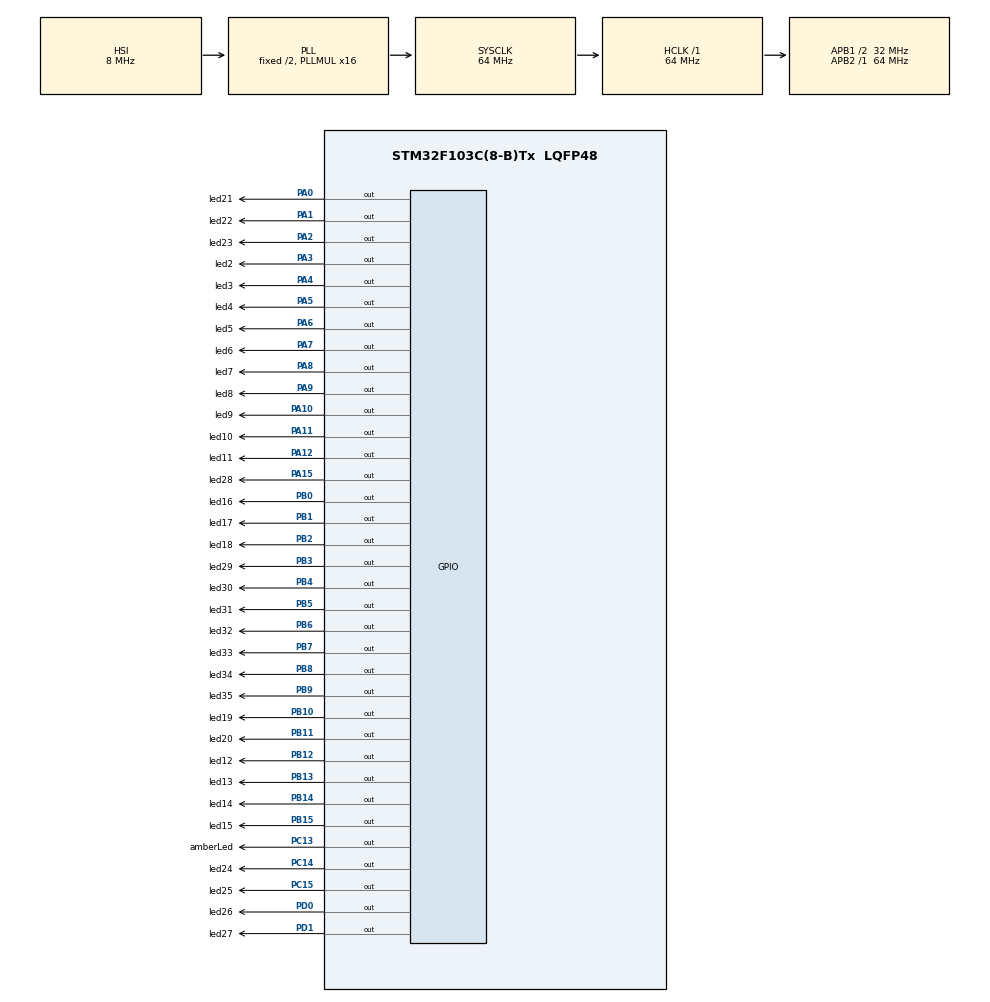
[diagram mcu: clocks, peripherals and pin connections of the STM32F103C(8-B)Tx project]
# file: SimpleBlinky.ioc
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Mcu.Family=STM32F1
Mcu.Name=STM32F103C(8-B)Tx
Mcu.Package=LQFP48
NVIC.PriorityGroup=NVIC_PRIORITYGROUP_4
PA0-WKUP.GPIO_Label=led21
PA0-WKUP.Signal=GPIO_Output
PA1.GPIO_Label=led22
PA1.Signal=GPIO_Output
PA10.GPIO_Label=led9
PA10.Signal=GPIO_Output
PA11.GPIO_Label=led10
PA11.Signal=GPIO_Output
PA12.GPIO_Label=led11
PA12.Signal=GPIO_Output
PA13.Mode=Serial_Wire
PA13.Signal=SYS_JTMS-SWDIO
PA14.Mode=Serial_Wire
PA14.Signal=SYS_JTCK-SWCLK
PA15.GPIO_Label=led28
PA15.Signal=GPIO_Output
PA2.GPIO_Label=led23
PA2.Signal=GPIO_Output
PA3.GPIO_Label=led2
PA3.GPIO_ModeDefaultOutputPP=GPIO_MODE_OUTPUT_OD
PA3.PinState=GPIO_PIN_SET
PA3.Signal=GPIO_Output
PA4.GPIO_Label=led3
PA4.GPIO_ModeDefaultOutputPP=GPIO_MODE_OUTPUT_OD
PA4.PinState=GPIO_PIN_SET
PA4.Signal=GPIO_Output
PA5.GPIO_Label=led4
PA5.PinState=GPIO_PIN_SET
PA5.Signal=GPIO_Output
PA6.GPIO_Label=led5
PA6.PinState=GPIO_PIN_SET
PA6.Signal=GPIO_Output
PA7.GPIO_Label=led6
PA7.PinState=GPIO_PIN_SET
PA7.Signal=GPIO_Output
PA8.GPIO_Label=led7
PA8.Signal=GPIO_Output
PA9.GPIO_Label=led8
PA9.Signal=GPIO_Output
PB0.GPIO_Label=led16
PB0.Signal=GPIO_Output
PB1.GPIO_Label=led17
PB1.Signal=GPIO_Output
PB10.GPIO_Label=led19
PB10.Signal=GPIO_Output
PB11.GPIO_Label=led20
PB11.Signal=GPIO_Output
PB12.GPIO_Label=led12
PB12.Signal=GPIO_Output
PB13.GPIO_Label=led13
PB13.Signal=GPIO_Output
PB14.GPIO_Label=led14
PB14.Signal=GPIO_Output
PB15.GPIO_Label=led15
PB15.Signal=GPIO_Output
PB2.GPIO_Label=led18
PB2.Signal=GPIO_Output
PB3.GPIO_Label=led29
PB3.Signal=GPIO_Output
PB4.GPIO_Label=led30
PB4.Signal=GPIO_Output
PB5.GPIO_Label=led31
PB5.Signal=GPIO_Output
PB6.GPIO_Label=led32
PB6.Signal=GPIO_Output
PB7.GPIO_Label=led33
PB7.Signal=GPIO_Output
PB8.GPIO_Label=led34
PB8.Signal=GPIO_Output
PB9.GPIO_Label=led35
PB9.Signal=GPIO_Output
PC13-TAMPER-RTC.GPIO_Label=amberLed
PC13-TAMPER-RTC.GPIO_ModeDefaultOutputPP=GPIO_MODE_OUTPUT_OD
PC13-TAMPER-RTC.GPIO_Speed=GPIO_SPEED_FREQ_LOW
PC13-TAMPER-RTC.PinState=GPIO_PIN_SET
PC13-TAMPER-RTC.Signal=GPIO_Output
PC14-OSC32_IN.GPIO_Label=led24
PC14-OSC32_IN.Signal=GPIO_Output
PC15-OSC32_OUT.GPIO_Label=led25
PC15-OSC32_OUT.Signal=GPIO_Output
PD0-OSC_IN.GPIO_Label=led26
PD0-OSC_IN.Signal=GPIO_Output
PD1-OSC_OUT.GPIO_Label=led27
PD1-OSC_OUT.Signal=GPIO_Output
ProjectManager.HeapSize=0x200
ProjectManager.StackSize=0x400
ProjectManager.TargetToolchain=SW4STM32
RCC.AHBFreq_Value=64000000
RCC.APB1CLKDivider=RCC_HCLK_DIV2
RCC.APB1Freq_Value=32000000
RCC.APB1TimFreq_Value=64000000
RCC.APB2Freq_Value=64000000
RCC.APB2TimFreq_Value=64000000
RCC.HCLKFreq_Value=64000000
RCC.PLLMUL=RCC_PLL_MUL16
RCC.SYSCLKFreq_VALUE=64000000
RCC.SYSCLKSource=RCC_SYSCLKSOURCE_PLLCLK
RCC.USBFreq_Value=64000000
board=SimpleBlinky

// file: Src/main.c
/**
  ******************************************************************************
  * File Name          : main.c
  * Description        : Main program body
  ******************************************************************************
  ** This notice applies to any and all portions of this file
  * that are not between comment pairs USER CODE BEGIN and
  * USER CODE END. Other portions of this file, whether
  * inserted by the user or by software development tools
  * are owned by their respective copyright owners.
  *
  * COPYRIGHT(c) 2017 STMicroelectronics
  *
  * Redistribution and use in source and binary forms, with or without modification,
  * are permitted provided that the following conditions are met:
  *   1. Redistributions of source code must retain the above copyright notice,
  *      this list of conditions and the following disclaimer.
  *   2. Redistributions in binary form must reproduce the above copyright notice,
  *      this list of conditions and the following disclaimer in the documentation
  *      and/or other materials provided with the distribution.
  *   3. Neither the name of STMicroelectronics nor the names of its contributors
  *      may be used to endorse or promote products derived from this software
  *      without specific prior written permission.
  *
  * THIS SOFTWARE IS PROVIDED BY THE COPYRIGHT HOLDERS AND CONTRIBUTORS "AS IS"
  * AND ANY EXPRESS OR IMPLIED WARRANTIES, INCLUDING, BUT NOT LIMITED TO, THE
  * IMPLIED WARRANTIES OF MERCHANTABILITY AND FITNESS FOR A PARTICULAR PURPOSE ARE
  * DISCLAIMED. IN NO EVENT SHALL THE COPYRIGHT HOLDER OR CONTRIBUTORS BE LIABLE
  * FOR ANY DIRECT, INDIRECT, INCIDENTAL, SPECIAL, EXEMPLARY, OR CONSEQUENTIAL
  * DAMAGES (INCLUDING, BUT NOT LIMITED TO, PROCUREMENT OF SUBSTITUTE GOODS OR
  * SERVICES; LOSS OF USE, DATA, OR PROFITS; OR BUSINESS INTERRUPTION) HOWEVER
  * CAUSED AND ON ANY THEORY OF LIABILITY, WHETHER IN CONTRACT, STRICT LIABILITY,
  * OR TORT (INCLUDING NEGLIGENCE OR OTHERWISE) ARISING IN ANY WAY OUT OF THE USE
  * OF THIS SOFTWARE, EVEN IF ADVISED OF THE POSSIBILITY OF SUCH DAMAGE.
  *
  ******************************************************************************
  */
#include "main.h"
#include "stm32f1xx_hal.h"

/* USER CODE BEGIN PV */
/* Private variables ---------------------------------------------------------*/
typedef struct Led Led;
struct Led {
	int state;
	int tickstart;
	GPIO_TypeDef* port;
	uint16_t pin;
	int onPeriod;
	int offPeriod;
};

/* USER CODE END PV */

void SystemClock_Config(void);
static void MX_GPIO_Init(void);

/* USER CODE BEGIN PFP */
/* Private function prototypes -----------------------------------------------*/
void doBlinking(void);
void blinkLed(Led *led);
void initLed(Led *led, GPIO_TypeDef* port, uint16_t pin,			\
			 int onPeriod, int offPeriod);
void ledWaitAndSwitch(Led *led, int period, int pinState, int nextState);
/* USER CODE END PFP */

int main(void)
{

  /* USER CODE BEGIN 1 */
//  Led led1;
//  Led led2;
  /* USER CODE END 1 */

  /* MCU Configuration----------------------------------------------------------*/

  /* Reset of all peripherals, Initializes the Flash interface and the Systick. */
  HAL_Init();

  /* Configure the system clock */
  SystemClock_Config();

  /* Initialize all configured peripherals */
  MX_GPIO_Init();

  /* USER CODE BEGIN 2 */
//  initLed(&led1, amberLed_GPIO_Port, amberLed_Pin, 500, 500);
//  initLed(&led2, led7_GPIO_Port, led7_Pin, 150, 150);
  /* USER CODE END 2 */

  /* Infinite loop */
  /* USER CODE BEGIN WHILE */
  while (1)
  {
//	  blinkLed(&led1);
//	  blinkLed(&led2);
	  doBlinking();
  /* USER CODE END WHILE */

  }

}

/** System Clock Configuration
*/
void SystemClock_Config(void)
{

  RCC_OscInitTypeDef RCC_OscInitStruct;
  RCC_ClkInitTypeDef RCC_ClkInitStruct;

    /**Initializes the CPU, AHB and APB busses clocks
    */
  RCC_OscInitStruct.OscillatorType = RCC_OSCILLATORTYPE_HSI;
  RCC_OscInitStruct.HSIState = RCC_HSI_ON;
  RCC_OscInitStruct.HSICalibrationValue = 16;
  RCC_OscInitStruct.PLL.PLLState = RCC_PLL_ON;
  RCC_OscInitStruct.PLL.PLLSource = RCC_PLLSOURCE_HSI_DIV2;
  RCC_OscInitStruct.PLL.PLLMUL = RCC_PLL_MUL16;
  if (HAL_RCC_OscConfig(&RCC_OscInitStruct) != HAL_OK)
  {
    _Error_Handler(__FILE__, __LINE__);
  }

    /**Initializes the CPU, AHB and APB busses clocks
    */
  RCC_ClkInitStruct.ClockType = RCC_CLOCKTYPE_HCLK|RCC_CLOCKTYPE_SYSCLK
                              |RCC_CLOCKTYPE_PCLK1|RCC_CLOCKTYPE_PCLK2;
  RCC_ClkInitStruct.SYSCLKSource = RCC_SYSCLKSOURCE_PLLCLK;
  RCC_ClkInitStruct.AHBCLKDivider = RCC_SYSCLK_DIV1;
  RCC_ClkInitStruct.APB1CLKDivider = RCC_HCLK_DIV2;
  RCC_ClkInitStruct.APB2CLKDivider = RCC_HCLK_DIV1;

  if (HAL_RCC_ClockConfig(&RCC_ClkInitStruct, FLASH_LATENCY_2) != HAL_OK)
  {
    _Error_Handler(__FILE__, __LINE__);
  }

    /**Configure the Systick interrupt time
    */
  HAL_SYSTICK_Config(HAL_RCC_GetHCLKFreq()/1000);

    /**Configure the Systick
    */
  HAL_SYSTICK_CLKSourceConfig(SYSTICK_CLKSOURCE_HCLK);

  /* SysTick_IRQn interrupt configuration */
  HAL_NVIC_SetPriority(SysTick_IRQn, 0, 0);
}

/** Configure pins as
        * Analog
        * Input
        * Output
        * EVENT_OUT
        * EXTI
*/
static void MX_GPIO_Init(void)
{

  GPIO_InitTypeDef GPIO_InitStruct;

  /* GPIO Ports Clock Enable */
  __HAL_RCC_GPIOC_CLK_ENABLE();
  __HAL_RCC_GPIOD_CLK_ENABLE();
  __HAL_RCC_GPIOA_CLK_ENABLE();
  __HAL_RCC_GPIOB_CLK_ENABLE();

  /*Configure GPIO pin Output Level */
  HAL_GPIO_WritePin(amberLed_GPIO_Port, amberLed_Pin, GPIO_PIN_SET);

  /*Configure GPIO pin Output Level */
  HAL_GPIO_WritePin(GPIOC, led24_Pin|led25_Pin, GPIO_PIN_RESET);

  /*Configure GPIO pin Output Level */
  HAL_GPIO_WritePin(GPIOD, led26_Pin|led27_Pin, GPIO_PIN_RESET);

  /*Configure GPIO pin Output Level */
  HAL_GPIO_WritePin(GPIOA, led21_Pin|led22_Pin|led23_Pin|led7_Pin
                          |led8_Pin|led9_Pin|led10_Pin|led11_Pin
                          |led28_Pin, GPIO_PIN_RESET);

  /*Configure GPIO pin Output Level */
  HAL_GPIO_WritePin(GPIOA, led2_Pin|led3_Pin|led4_Pin|led5_Pin
                          |led6_Pin, GPIO_PIN_SET);

  /*Configure GPIO pin Output Level */
  HAL_GPIO_WritePin(GPIOB, led16_Pin|led17_Pin|led18_Pin|led19_Pin
                          |led20_Pin|led12_Pin|led13_Pin|led14_Pin
                          |led15_Pin|led29_Pin|led30_Pin|led31_Pin
                          |led32_Pin|led33_Pin|led34_Pin|led35_Pin, GPIO_PIN_RESET);

  /*Configure GPIO pin : amberLed_Pin */
  GPIO_InitStruct.Pin = amberLed_Pin;
  GPIO_InitStruct.Mode = GPIO_MODE_OUTPUT_OD;
  GPIO_InitStruct.Speed = GPIO_SPEED_FREQ_LOW;
  HAL_GPIO_Init(amberLed_GPIO_Port, &GPIO_InitStruct);

  /*Configure GPIO pins : led24_Pin led25_Pin */
  GPIO_InitStruct.Pin = led24_Pin|led25_Pin;
  GPIO_InitStruct.Mode = GPIO_MODE_OUTPUT_PP;
  GPIO_InitStruct.Speed = GPIO_SPEED_FREQ_LOW;
  HAL_GPIO_Init(GPIOC, &GPIO_InitStruct);

  /*Configure GPIO pins : led26_Pin led27_Pin */
  GPIO_InitStruct.Pin = led26_Pin|led27_Pin;
  GPIO_InitStruct.Mode = GPIO_MODE_OUTPUT_PP;
  GPIO_InitStruct.Speed = GPIO_SPEED_FREQ_LOW;
  HAL_GPIO_Init(GPIOD, &GPIO_InitStruct);

  /*Configure GPIO pins : led21_Pin led22_Pin led23_Pin led4_Pin
                           led5_Pin led6_Pin led7_Pin led8_Pin
                           led9_Pin led10_Pin led11_Pin led28_Pin */
  GPIO_InitStruct.Pin = led21_Pin|led22_Pin|led23_Pin|led4_Pin
                          |led5_Pin|led6_Pin|led7_Pin|led8_Pin
                          |led9_Pin|led10_Pin|led11_Pin|led28_Pin;
  GPIO_InitStruct.Mode = GPIO_MODE_OUTPUT_PP;
  GPIO_InitStruct.Speed = GPIO_SPEED_FREQ_LOW;
  HAL_GPIO_Init(GPIOA, &GPIO_InitStruct);

  /*Configure GPIO pins : led2_Pin led3_Pin */
  GPIO_InitStruct.Pin = led2_Pin|led3_Pin;
  GPIO_InitStruct.Mode = GPIO_MODE_OUTPUT_OD;
  GPIO_InitStruct.Speed = GPIO_SPEED_FREQ_LOW;
  HAL_GPIO_Init(GPIOA, &GPIO_InitStruct);

  /*Configure GPIO pins : led16_Pin led17_Pin led18_Pin led19_Pin
                           led20_Pin led12_Pin led13_Pin led14_Pin
                           led15_Pin led29_Pin led30_Pin led31_Pin
                           led32_Pin led33_Pin led34_Pin led35_Pin */
  GPIO_InitStruct.Pin = led16_Pin|led17_Pin|led18_Pin|led19_Pin
                          |led20_Pin|led12_Pin|led13_Pin|led14_Pin
                          |led15_Pin|led29_Pin|led30_Pin|led31_Pin
                          |led32_Pin|led33_Pin|led34_Pin|led35_Pin;
  GPIO_InitStruct.Mode = GPIO_MODE_OUTPUT_PP;
  GPIO_InitStruct.Speed = GPIO_SPEED_FREQ_LOW;
  HAL_GPIO_Init(GPIOB, &GPIO_InitStruct);

  /*Configure peripheral I/O remapping */
  __HAL_AFIO_REMAP_PD01_ENABLE();

}

/* USER CODE BEGIN 4 */
void initLed(Led *led, GPIO_TypeDef* port, uint16_t pin,			\
			int onPeriod, int offPeriod) {
	led->state = 0;
	led->tickstart = 0;
	led->port = port;
	led->pin = pin;
	led->onPeriod = onPeriod;
	led->offPeriod = offPeriod;
}

void ledWaitAndSwitch(Led *led, int period, int pinState, int nextState) {
	if((HAL_GetTick() - led->tickstart) > period) {
		HAL_GPIO_WritePin(led->port, led->pin, pinState);
		led->tickstart = HAL_GetTick();
		led->state = nextState;
	}
}

void blinkLed(Led *led) {
  switch(led->state) {
  case 0:	// WAIT TO ON
	  ledWaitAndSwitch(led, led->offPeriod, GPIO_PIN_RESET, 1);
	  break;
  case 1:   // WAIT TO OFF
	  ledWaitAndSwitch(led, led->onPeriod, GPIO_PIN_SET, 0);
	  break;
  default:
	  led->state = 0;
  }
}

void doBlinking() {
    HAL_GPIO_TogglePin(amberLed_GPIO_Port, amberLed_Pin);
    HAL_GPIO_TogglePin(led2_GPIO_Port, led2_Pin);
    HAL_GPIO_TogglePin(led3_GPIO_Port, led3_Pin);
    HAL_GPIO_TogglePin(led4_GPIO_Port, led4_Pin);
    HAL_GPIO_TogglePin(led5_GPIO_Port, led5_Pin);
    HAL_GPIO_TogglePin(led6_GPIO_Port, led6_Pin);
    HAL_GPIO_TogglePin(led7_GPIO_Port, led7_Pin);
    HAL_GPIO_TogglePin(led8_GPIO_Port, led8_Pin);
    HAL_GPIO_TogglePin(led9_GPIO_Port, led9_Pin);
    HAL_GPIO_TogglePin(led10_GPIO_Port, led10_Pin);
    HAL_GPIO_TogglePin(led11_GPIO_Port, led11_Pin);
    HAL_GPIO_TogglePin(led12_GPIO_Port, led12_Pin);
    HAL_GPIO_TogglePin(led13_GPIO_Port, led13_Pin);
    HAL_GPIO_TogglePin(led14_GPIO_Port, led14_Pin);
    HAL_GPIO_TogglePin(led15_GPIO_Port, led15_Pin);
    HAL_GPIO_TogglePin(led16_GPIO_Port, led16_Pin);
    HAL_GPIO_TogglePin(led17_GPIO_Port, led17_Pin);
    HAL_GPIO_TogglePin(led18_GPIO_Port, led18_Pin);
    HAL_GPIO_TogglePin(led19_GPIO_Port, led19_Pin);
    HAL_GPIO_TogglePin(led20_GPIO_Port, led20_Pin);
    HAL_GPIO_TogglePin(led21_GPIO_Port, led21_Pin);
    HAL_GPIO_TogglePin(led22_GPIO_Port, led22_Pin);
    HAL_GPIO_TogglePin(led23_GPIO_Port, led23_Pin);
    HAL_GPIO_TogglePin(led24_GPIO_Port, led24_Pin);
    HAL_GPIO_TogglePin(led25_GPIO_Port, led25_Pin);
    HAL_GPIO_TogglePin(led26_GPIO_Port, led26_Pin);
    HAL_GPIO_TogglePin(led27_GPIO_Port, led27_Pin);
    HAL_GPIO_TogglePin(led28_GPIO_Port, led28_Pin);
    HAL_GPIO_TogglePin(led29_GPIO_Port, led29_Pin);
    HAL_GPIO_TogglePin(led30_GPIO_Port, led30_Pin);
    HAL_GPIO_TogglePin(led31_GPIO_Port, led31_Pin);
    HAL_GPIO_TogglePin(led32_GPIO_Port, led32_Pin);
    HAL_GPIO_TogglePin(led33_GPIO_Port, led33_Pin);
    HAL_GPIO_TogglePin(led34_GPIO_Port, led34_Pin);
    HAL_GPIO_TogglePin(led35_GPIO_Port, led35_Pin);
    HAL_Delay(500);
}
/* USER CODE END 4 */

void _Error_Handler(char * file, int line)
{
  while(1)
  {
  }
}

/************************ (C) COPYRIGHT STMicroelectronics *****END OF FILE****/
